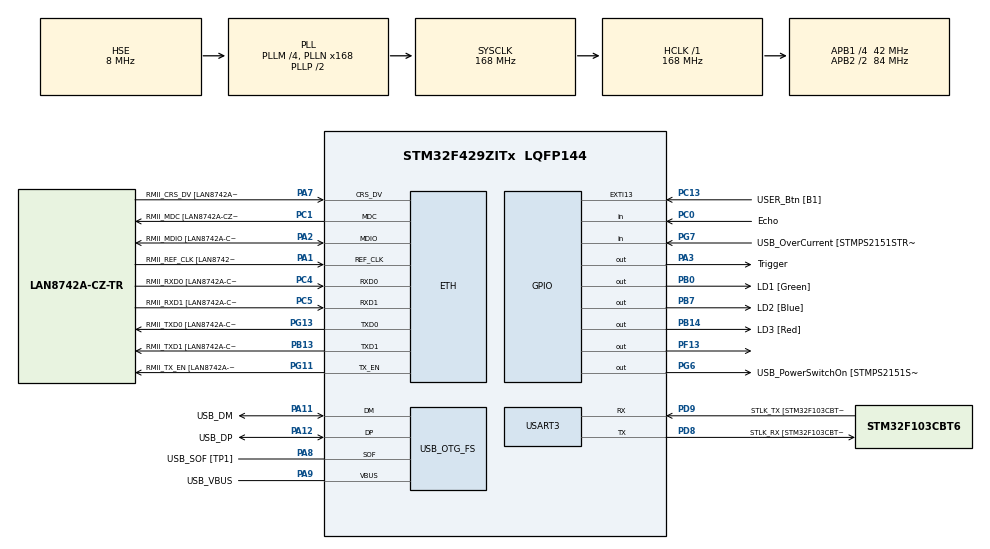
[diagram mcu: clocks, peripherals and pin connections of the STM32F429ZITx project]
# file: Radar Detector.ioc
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ETH.MediaInterface=HAL_ETH_RMII_MODE
ETH.PHY_Name=LAN8742A_PHY_ADDRESS
ETH.PHY_Value=0
ETH.PhyAddress=0
Mcu.Family=STM32F4
Mcu.Name=STM32F429ZITx
Mcu.Package=LQFP144
NVIC.PriorityGroup=NVIC_PRIORITYGROUP_4
PA1.GPIO_Label=RMII_REF_CLK [LAN8742A-CZ-TR_REFCLK0]
PA1.Mode=RMII
PA1.Signal=ETH_REF_CLK
PA10.GPIO_Label=USB_ID
PA10.Signal=USB_OTG_FS_ID
PA11.GPIO_Label=USB_DM
PA11.Mode=Device_Only
PA11.Signal=USB_OTG_FS_DM
PA12.GPIO_Label=USB_DP
PA12.Mode=Device_Only
PA12.Signal=USB_OTG_FS_DP
PA13.GPIO_Label=TMS
PA13.Mode=Serial_Wire
PA13.Signal=SYS_JTMS-SWDIO
PA14.GPIO_Label=TCK
PA14.Mode=Serial_Wire
PA14.Signal=SYS_JTCK-SWCLK
PA2.GPIO_Label=RMII_MDIO [LAN8742A-CZ-TR_MDIO]
PA2.Mode=RMII
PA2.Signal=ETH_MDIO
PA3.GPIO_Label=Trigger
PA3.Signal=GPIO_Output
PA7.GPIO_Label=RMII_CRS_DV [LAN8742A-CZ-TR_CRS_DV]
PA7.Mode=RMII
PA7.Signal=ETH_CRS_DV
PA8.GPIO_Label=USB_SOF [TP1]
PA8.Mode=Activate_SOF_FS
PA8.Signal=USB_OTG_FS_SOF
PA9.GPIO_Label=USB_VBUS
PA9.Mode=Activate_VBUS
PA9.Signal=USB_OTG_FS_VBUS
PB0.GPIO_Label=LD1 [Green]
PB0.Signal=GPIO_Output
PB13.GPIO_Label=RMII_TXD1 [LAN8742A-CZ-TR_TXD1]
PB13.Mode=RMII
PB13.Signal=ETH_TXD1
PB14.GPIO_Label=LD3 [Red]
PB14.Signal=GPIO_Output
PB7.GPIO_Label=LD2 [Blue]
PB7.Signal=GPIO_Output
PC0.GPIO_Label=Echo
PC0.Signal=GPIO_Input
PC1.GPIO_Label=RMII_MDC [LAN8742A-CZ-TR_MDC]
PC1.Mode=RMII
PC1.Signal=ETH_MDC
PC13.GPIO_Label=USER_Btn [B1]
PC13.Signal=GPXTI13
PC14/OSC32_IN.Signal=RCC_OSC32_IN
PC15/OSC32_OUT.Signal=RCC_OSC32_OUT
PC4.GPIO_Label=RMII_RXD0 [LAN8742A-CZ-TR_RXD0]
PC4.Mode=RMII
PC4.Signal=ETH_RXD0
PC5.GPIO_Label=RMII_RXD1 [LAN8742A-CZ-TR_RXD1]
PC5.Mode=RMII
PC5.Signal=ETH_RXD1
PD8.GPIO_Label=STLK_RX [STM32F103CBT6_PA3]
PD8.Mode=Asynchronous
PD8.Signal=USART3_TX
PD9.GPIO_Label=STLK_TX [STM32F103CBT6_PA2]
PD9.Mode=Asynchronous
PD9.Signal=USART3_RX
PE9.Signal=S_TIM1_CH1
PF13.Signal=GPIO_Output
PG11.GPIO_Label=RMII_TX_EN [LAN8742A-CZ-TR_TXEN]
PG11.Mode=RMII
PG11.Signal=ETH_TX_EN
PG13.GPIO_Label=RMII_TXD0 [LAN8742A-CZ-TR_TXD0]
PG13.Mode=RMII
PG13.Signal=ETH_TXD0
PG6.GPIO_Label=USB_PowerSwitchOn [STMPS2151STR_EN]
PG6.Signal=GPIO_Output
PG7.GPIO_Label=USB_OverCurrent [STMPS2151STR_FAULT]
PG7.Signal=GPIO_Input
PH0/OSC_IN.GPIO_Label=MCO [STM32F103CBT6_PA8]
PH0/OSC_IN.Mode=HSE-External-Oscillator
PH0/OSC_IN.Signal=RCC_OSC_IN
PH1/OSC_OUT.Mode=HSE-External-Oscillator
PH1/OSC_OUT.Signal=RCC_OSC_OUT
ProjectManager.HeapSize=0x200
ProjectManager.StackSize=0x400
ProjectManager.TargetToolchain=STM32CubeIDE
RCC.48MHZClocksFreq_Value=48000000
RCC.AHBFreq_Value=168000000
RCC.APB1CLKDivider=RCC_HCLK_DIV4
RCC.APB1Freq_Value=42000000
RCC.APB1TimFreq_Value=84000000
RCC.APB2CLKDivider=RCC_HCLK_DIV2
RCC.APB2Freq_Value=84000000
RCC.APB2TimCLKDivider=2
RCC.APB2TimFreq_Value=168000000
RCC.CortexFreq_Value=168000000
RCC.HCLKFreq_Value=168000000
RCC.HSE_VALUE=8000000
RCC.HSI_VALUE=16000000
RCC.PLLM=4
RCC.PLLMUL=RCC_PLL_MUL9
RCC.PLLN=168
RCC.PLLQ=7
RCC.PRESCALERUSB=RCC_USBCLKSOURCE_PLL_DIV1_5
RCC.SYSCLKFreq_VALUE=168000000
RCC.SYSCLKSource=RCC_SYSCLKSOURCE_PLLCLK
RCC.SYSCLKSourceVirtual=RCC_SYSCLKSOURCE_PLLCLK
RCC.USBFreq_Value=48000000
RCC.VCOOutputFreq_Value=336000000
SH.S_TIM1_CH1.0=TIM1_CH1
TIM1.Period=0xffff-1
TIM1.Prescaler=84-1
USART3.VirtualMode=VM_ASYNC
USB_OTG_FS.VirtualMode=Device_Only
VP_TIM1_VS_ClockSourceINT.Mode=Internal
board=NUCLEO-F429ZI

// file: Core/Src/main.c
/* USER CODE BEGIN Header */
/**
  ******************************************************************************
  * @file           : main.c
  * @brief          : Main program body
  ******************************************************************************
  * @attention
  *
  * Copyright (c) 2023 STMicroelectronics.
  * All rights reserved.
  *
  * This software is licensed under terms that can be found in the LICENSE file
  * in the root directory of this software component.
  * If no LICENSE file comes with this software, it is provided AS-IS.
  *
  ******************************************************************************
  */
/* USER CODE END Header */
#include "main.h"
#include "string.h"

/* USER CODE BEGIN Includes */
#include "servo_driver.h"
/* USER CODE END Includes */

ETH_TxPacketConfig TxConfig;
ETH_DMADescTypeDef  DMARxDscrTab[ETH_RX_DESC_CNT]; /* Ethernet Rx DMA Descriptors */
ETH_DMADescTypeDef  DMATxDscrTab[ETH_TX_DESC_CNT]; /* Ethernet Tx DMA Descriptors */

ETH_HandleTypeDef heth;

TIM_HandleTypeDef htim1;

UART_HandleTypeDef huart3;

PCD_HandleTypeDef hpcd_USB_OTG_FS;

void SystemClock_Config(void);
static void MX_GPIO_Init(void);
static void MX_ETH_Init(void);
static void MX_USART3_UART_Init(void);
static void MX_USB_OTG_FS_PCD_Init(void);
static void MX_TIM1_Init(void);

int main(void)
{

  /* MCU Configuration--------------------------------------------------------*/

  /* Reset of all peripherals, Initializes the Flash interface and the Systick. */
  HAL_Init();

  /* Configure the system clock */
  SystemClock_Config();

  /* Initialize all configured peripherals */
  MX_GPIO_Init();
  MX_ETH_Init();
  MX_USART3_UART_Init();
  MX_USB_OTG_FS_PCD_Init();
  MX_TIM1_Init();
  /* USER CODE BEGIN 2 */
servo_init();
servo_enable();

float distance = 0;

HAL_TIM_Base_Start(&htim1);
void delay_us (uint16_t us)
{
	__HAL_TIM_SET_COUNTER(&htim1,0);  // set the counter value a 0
	while (__HAL_TIM_GET_COUNTER(&htim1) < us);  // wait for the counter to reach the us input in the parameter
}

float sensorRead(){
	uint32_t time = 0;
	float distance_temp = 0;
	HAL_GPIO_WritePin(Trigger_GPIO_Port, Trigger_Pin, GPIO_PIN_RESET);
	delay_us(10);
	HAL_GPIO_WritePin(Trigger_GPIO_Port, Trigger_Pin, GPIO_PIN_SET);
	delay_us(10);
	HAL_GPIO_WritePin(Trigger_GPIO_Port, Trigger_Pin, GPIO_PIN_RESET);
	delay_us(10);
	while(!HAL_GPIO_ReadPin(Echo_GPIO_Port, Echo_Pin));
	while(HAL_GPIO_ReadPin(Echo_GPIO_Port, Echo_Pin))
	{
		time++;
		delay_us(1);
	}
	distance_temp = (float) time/58; // 58
	HAL_Delay(50);
	return distance_temp;
}

  /* USER CODE END 2 */

  /* Infinite loop */
  while (1)
  {

    /* USER CODE BEGIN 3 */
	  int32_t sweep = 0;
	  uint8_t txbuf[64];
	  float degree = 0;
	  for(sweep = 1250; sweep < 4500; sweep += 100){
	  servo_set_duty_cycle(sweep, CHANNEL1);
	  distance = sensorRead();
	  degree = (sweep-1250)/18.05;
	  sprintf((char*)txbuf, "Mesafe: %f Servo: %f\r\n", distance,degree);
	  	  HAL_UART_Transmit(&huart3, txbuf, strlen((char*)txbuf), HAL_MAX_DELAY);
	  HAL_Delay(100);
	  }

	  for(sweep = 4500; sweep > 1250; sweep -= 100){
	  servo_set_duty_cycle(sweep, CHANNEL1);
	  distance = sensorRead();
	  degree = (sweep-1250)/18.05;
	  sprintf((char*)txbuf, "Mesafe: %f Servo: %f\r\n", distance,degree);
	  HAL_UART_Transmit(&huart3, txbuf, strlen((char*)txbuf), HAL_MAX_DELAY);
	  HAL_Delay(100);
	  }
	  //servo_set_duty_cycle(4500, CHANNEL1);
	  //HAL_Delay(1000);

	  //HAL_UART_Transmit(&huart3, (uint8_t *)&distance, sizeof(distance), 100);
	  //servo_set_duty_cycle(1250, CHANNEL1);
	  //HAL_Delay(1000);
	  //distance = sensorRead();
	  //HAL_UART_Transmit(&huart3, (uint8_t *)&distance, sizeof(distance), 100);

  }
  /* USER CODE END 3 */
}

void SystemClock_Config(void)
{
  RCC_OscInitTypeDef RCC_OscInitStruct = {0};
  RCC_ClkInitTypeDef RCC_ClkInitStruct = {0};

  /** Configure the main internal regulator output voltage
  */
  __HAL_RCC_PWR_CLK_ENABLE();
  __HAL_PWR_VOLTAGESCALING_CONFIG(PWR_REGULATOR_VOLTAGE_SCALE1);

  /** Initializes the RCC Oscillators according to the specified parameters
  * in the RCC_OscInitTypeDef structure.
  */
  RCC_OscInitStruct.OscillatorType = RCC_OSCILLATORTYPE_HSE;
  RCC_OscInitStruct.HSEState = RCC_HSE_ON;
  RCC_OscInitStruct.PLL.PLLState = RCC_PLL_ON;
  RCC_OscInitStruct.PLL.PLLSource = RCC_PLLSOURCE_HSE;
  RCC_OscInitStruct.PLL.PLLM = 4;
  RCC_OscInitStruct.PLL.PLLN = 168;
  RCC_OscInitStruct.PLL.PLLP = RCC_PLLP_DIV2;
  RCC_OscInitStruct.PLL.PLLQ = 7;
  if (HAL_RCC_OscConfig(&RCC_OscInitStruct) != HAL_OK)
  {
    Error_Handler();
  }

  /** Initializes the CPU, AHB and APB buses clocks
  */
  RCC_ClkInitStruct.ClockType = RCC_CLOCKTYPE_HCLK|RCC_CLOCKTYPE_SYSCLK
                              |RCC_CLOCKTYPE_PCLK1|RCC_CLOCKTYPE_PCLK2;
  RCC_ClkInitStruct.SYSCLKSource = RCC_SYSCLKSOURCE_PLLCLK;
  RCC_ClkInitStruct.AHBCLKDivider = RCC_SYSCLK_DIV1;
  RCC_ClkInitStruct.APB1CLKDivider = RCC_HCLK_DIV4;
  RCC_ClkInitStruct.APB2CLKDivider = RCC_HCLK_DIV2;

  if (HAL_RCC_ClockConfig(&RCC_ClkInitStruct, FLASH_LATENCY_5) != HAL_OK)
  {
    Error_Handler();
  }
}

static void MX_ETH_Init(void)
{

   static uint8_t MACAddr[6];

  heth.Instance = ETH;
  MACAddr[0] = 0x00;
  MACAddr[1] = 0x80;
  MACAddr[2] = 0xE1;
  MACAddr[3] = 0x00;
  MACAddr[4] = 0x00;
  MACAddr[5] = 0x00;
  heth.Init.MACAddr = &MACAddr[0];
  heth.Init.MediaInterface = HAL_ETH_RMII_MODE;
  heth.Init.TxDesc = DMATxDscrTab;
  heth.Init.RxDesc = DMARxDscrTab;
  heth.Init.RxBuffLen = 1524;

  if (HAL_ETH_Init(&heth) != HAL_OK)
  {
    Error_Handler();
  }

  memset(&TxConfig, 0 , sizeof(ETH_TxPacketConfig));
  TxConfig.Attributes = ETH_TX_PACKETS_FEATURES_CSUM | ETH_TX_PACKETS_FEATURES_CRCPAD;
  TxConfig.ChecksumCtrl = ETH_CHECKSUM_IPHDR_PAYLOAD_INSERT_PHDR_CALC;
  TxConfig.CRCPadCtrl = ETH_CRC_PAD_INSERT;

}

static void MX_TIM1_Init(void)
{

  TIM_ClockConfigTypeDef sClockSourceConfig = {0};
  TIM_MasterConfigTypeDef sMasterConfig = {0};

  htim1.Instance = TIM1;
  htim1.Init.Prescaler = 84-1;
  htim1.Init.CounterMode = TIM_COUNTERMODE_UP;
  htim1.Init.Period = 0xffff-1;
  htim1.Init.ClockDivision = TIM_CLOCKDIVISION_DIV1;
  htim1.Init.RepetitionCounter = 0;
  htim1.Init.AutoReloadPreload = TIM_AUTORELOAD_PRELOAD_DISABLE;
  if (HAL_TIM_Base_Init(&htim1) != HAL_OK)
  {
    Error_Handler();
  }
  sClockSourceConfig.ClockSource = TIM_CLOCKSOURCE_INTERNAL;
  if (HAL_TIM_ConfigClockSource(&htim1, &sClockSourceConfig) != HAL_OK)
  {
    Error_Handler();
  }
  sMasterConfig.MasterOutputTrigger = TIM_TRGO_RESET;
  sMasterConfig.MasterSlaveMode = TIM_MASTERSLAVEMODE_DISABLE;
  if (HAL_TIMEx_MasterConfigSynchronization(&htim1, &sMasterConfig) != HAL_OK)
  {
    Error_Handler();
  }

}

static void MX_USART3_UART_Init(void)
{

  huart3.Instance = USART3;
  huart3.Init.BaudRate = 115200;
  huart3.Init.WordLength = UART_WORDLENGTH_8B;
  huart3.Init.StopBits = UART_STOPBITS_1;
  huart3.Init.Parity = UART_PARITY_NONE;
  huart3.Init.Mode = UART_MODE_TX_RX;
  huart3.Init.HwFlowCtl = UART_HWCONTROL_NONE;
  huart3.Init.OverSampling = UART_OVERSAMPLING_16;
  if (HAL_UART_Init(&huart3) != HAL_OK)
  {
    Error_Handler();
  }

}

static void MX_USB_OTG_FS_PCD_Init(void)
{

  hpcd_USB_OTG_FS.Instance = USB_OTG_FS;
  hpcd_USB_OTG_FS.Init.dev_endpoints = 4;
  hpcd_USB_OTG_FS.Init.speed = PCD_SPEED_FULL;
  hpcd_USB_OTG_FS.Init.dma_enable = DISABLE;
  hpcd_USB_OTG_FS.Init.phy_itface = PCD_PHY_EMBEDDED;
  hpcd_USB_OTG_FS.Init.Sof_enable = ENABLE;
  hpcd_USB_OTG_FS.Init.low_power_enable = DISABLE;
  hpcd_USB_OTG_FS.Init.lpm_enable = DISABLE;
  hpcd_USB_OTG_FS.Init.vbus_sensing_enable = ENABLE;
  hpcd_USB_OTG_FS.Init.use_dedicated_ep1 = DISABLE;
  if (HAL_PCD_Init(&hpcd_USB_OTG_FS) != HAL_OK)
  {
    Error_Handler();
  }

}

static void MX_GPIO_Init(void)
{
  GPIO_InitTypeDef GPIO_InitStruct = {0};

  /* GPIO Ports Clock Enable */
  __HAL_RCC_GPIOC_CLK_ENABLE();
  __HAL_RCC_GPIOH_CLK_ENABLE();
  __HAL_RCC_GPIOA_CLK_ENABLE();
  __HAL_RCC_GPIOB_CLK_ENABLE();
  __HAL_RCC_GPIOF_CLK_ENABLE();
  __HAL_RCC_GPIOE_CLK_ENABLE();
  __HAL_RCC_GPIOD_CLK_ENABLE();
  __HAL_RCC_GPIOG_CLK_ENABLE();

  /*Configure GPIO pin Output Level */
  HAL_GPIO_WritePin(Trigger_GPIO_Port, Trigger_Pin, GPIO_PIN_RESET);

  /*Configure GPIO pin Output Level */
  HAL_GPIO_WritePin(GPIOB, LD1_Pin|LD3_Pin|LD2_Pin, GPIO_PIN_RESET);

  /*Configure GPIO pin Output Level */
  HAL_GPIO_WritePin(GPIOF, GPIO_PIN_13, GPIO_PIN_RESET);

  /*Configure GPIO pin Output Level */
  HAL_GPIO_WritePin(USB_PowerSwitchOn_GPIO_Port, USB_PowerSwitchOn_Pin, GPIO_PIN_RESET);

  /*Configure GPIO pin : USER_Btn_Pin */
  GPIO_InitStruct.Pin = USER_Btn_Pin;
  GPIO_InitStruct.Mode = GPIO_MODE_IT_RISING;
  GPIO_InitStruct.Pull = GPIO_NOPULL;
  HAL_GPIO_Init(USER_Btn_GPIO_Port, &GPIO_InitStruct);

  /*Configure GPIO pin : Echo_Pin */
  GPIO_InitStruct.Pin = Echo_Pin;
  GPIO_InitStruct.Mode = GPIO_MODE_INPUT;
  GPIO_InitStruct.Pull = GPIO_NOPULL;
  HAL_GPIO_Init(Echo_GPIO_Port, &GPIO_InitStruct);

  /*Configure GPIO pin : Trigger_Pin */
  GPIO_InitStruct.Pin = Trigger_Pin;
  GPIO_InitStruct.Mode = GPIO_MODE_OUTPUT_PP;
  GPIO_InitStruct.Pull = GPIO_NOPULL;
  GPIO_InitStruct.Speed = GPIO_SPEED_FREQ_LOW;
  HAL_GPIO_Init(Trigger_GPIO_Port, &GPIO_InitStruct);

  /*Configure GPIO pins : LD1_Pin LD3_Pin LD2_Pin */
  GPIO_InitStruct.Pin = LD1_Pin|LD3_Pin|LD2_Pin;
  GPIO_InitStruct.Mode = GPIO_MODE_OUTPUT_PP;
  GPIO_InitStruct.Pull = GPIO_NOPULL;
  GPIO_InitStruct.Speed = GPIO_SPEED_FREQ_LOW;
  HAL_GPIO_Init(GPIOB, &GPIO_InitStruct);

  /*Configure GPIO pin : PF13 */
  GPIO_InitStruct.Pin = GPIO_PIN_13;
  GPIO_InitStruct.Mode = GPIO_MODE_OUTPUT_PP;
  GPIO_InitStruct.Pull = GPIO_NOPULL;
  GPIO_InitStruct.Speed = GPIO_SPEED_FREQ_LOW;
  HAL_GPIO_Init(GPIOF, &GPIO_InitStruct);

  /*Configure GPIO pin : USB_PowerSwitchOn_Pin */
  GPIO_InitStruct.Pin = USB_PowerSwitchOn_Pin;
  GPIO_InitStruct.Mode = GPIO_MODE_OUTPUT_PP;
  GPIO_InitStruct.Pull = GPIO_NOPULL;
  GPIO_InitStruct.Speed = GPIO_SPEED_FREQ_LOW;
  HAL_GPIO_Init(USB_PowerSwitchOn_GPIO_Port, &GPIO_InitStruct);

  /*Configure GPIO pin : USB_OverCurrent_Pin */
  GPIO_InitStruct.Pin = USB_OverCurrent_Pin;
  GPIO_InitStruct.Mode = GPIO_MODE_INPUT;
  GPIO_InitStruct.Pull = GPIO_NOPULL;
  HAL_GPIO_Init(USB_OverCurrent_GPIO_Port, &GPIO_InitStruct);

}

void Error_Handler(void)
{
  __disable_irq();
  while (1)
  {
  }
}
